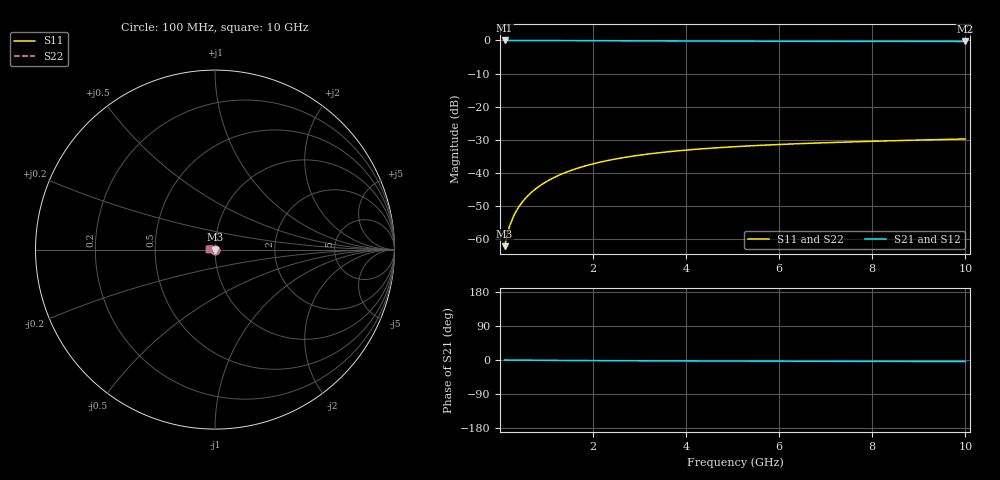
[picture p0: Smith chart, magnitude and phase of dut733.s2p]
! Touchstone file exported from HFSS 2024.1.0
!  File:  C:/UserFiles/LocalFiles/RDL_TSV_Batchsim/temp_TSV1_733_1779869446.aedt
!  Generated:  04:16:22 PM May 27, 2026
!  Design:  TSV1
!  Project:  temp_TSV1_733_1779869446
!  Setup:  Setup1
!  Solution:  Sweep
! Variables:
!  dtsv = 7.44um
!  hbump = 3um
!  htsv = 63.22um
!  lrdl = 252.1521522um
!  p = 40
!  p1 = 41.63um
!  t = 500um
!  trdl = 3um
!  wrdl = 24.89489489um
# GHz S MA R 50.000000
! Terminal data exported
! Port[1] = TSV22_T1
! Port[2] = TSV22_T2
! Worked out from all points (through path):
!   100 points, 100 MHz to 10 GHz, reference 50 ohm
!   highest |S21| = 0.00 dB at 100 MHz (marker M1); lowest = -0.3 dB at 10 GHz (marker M2)
!   lowest |S11| = -62.1 dB at 100 MHz (marker M3), VSWR 1.00, Z = 50 - j0.0754 ohm
!   |S11| at or under -10 dB: start of sweep to end of sweep
!   |S22| runs from -62.1 to -29.8 dB; largest |S21 - S12| = 7e-15
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0.1  0.0007816 -74.7  0.9997 -0.1  0.9997 -0.1  0.0007816 -74.7
! Gamma 0 0 0 0
! Port Impedance 50 0 50 0
0.2  0.00153 -84.7  0.9997 -0.2  0.9997 -0.2  0.00153 -84.7
0.3  0.002284 -89.3  0.9995 -0.3  0.9995 -0.3  0.002284 -89.3
0.4  0.003035 -92.4  0.9994 -0.4  0.9994 -0.4  0.003035 -92.4
0.5  0.003781 -95.0  0.9992 -0.4  0.9992 -0.4  0.003781 -95.0
0.6  0.004521 -97.2  0.9989 -0.5  0.9989 -0.5  0.004521 -97.2
0.7  0.005254 -99.3  0.9986 -0.6  0.9986 -0.6  0.005254 -99.3
0.8  0.005977 -101.3  0.9983 -0.7  0.9983 -0.7  0.005977 -101.3
0.9  0.006691 -103.2  0.9979 -0.8  0.9979 -0.8  0.006691 -103.2
1.1  0.008086 -106.8  0.9971 -0.9  0.9971 -0.9  0.008086 -106.8
1.4  0.01008 -111.9  0.9957 -1.2  0.9957 -1.2  0.01008 -111.9
1.6  0.01134 -115.1  0.9946 -1.3  0.9946 -1.3  0.01134 -115.1
1.8  0.01255 -118.1  0.9935 -1.4  0.9935 -1.4  0.01255 -118.1
2.1  0.01424 -122.6  0.9917 -1.6  0.9917 -1.6  0.01424 -122.6
2.5  0.01628 -128.1  0.9893 -1.8  0.9893 -1.8  0.01628 -128.1
2.9  0.01809 -133.2  0.9869 -2.0  0.9869 -2.0  0.01809 -133.2
3.4  0.02007 -139.0  0.9841 -2.2  0.9841 -2.2  0.02007 -139.0
4.2  0.02267 -147.3  0.98 -2.5  0.98 -2.5  0.02267 -147.3
5.1  0.02498 -155.2  0.9763 -2.8  0.9763 -2.8  0.02498 -155.2
6.7  0.02805 -166.9  0.9713 -3.3  0.9713 -3.3  0.02805 -166.9
8.4  0.03053 -176.9  0.9677 -3.7  0.9677 -3.7  0.03053 -176.9
10  0.03252 175.2  0.9653 -4.2  0.9653 -4.2  0.03252 175.2
